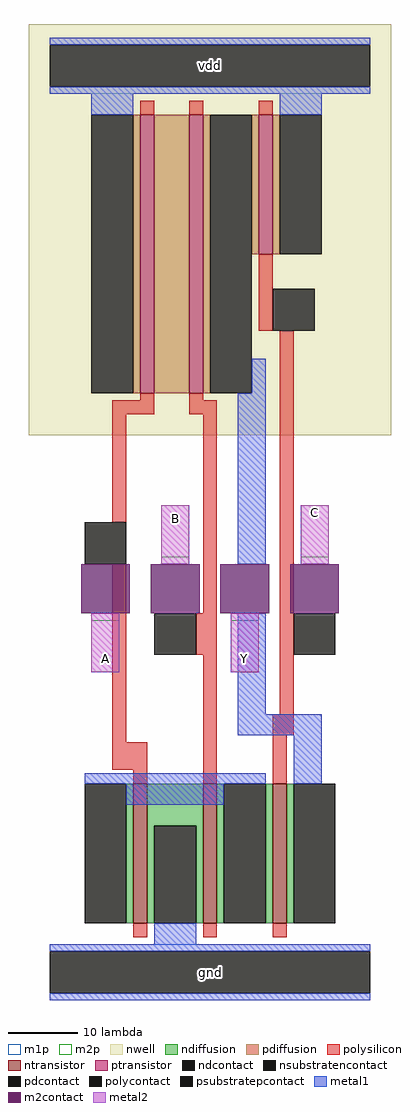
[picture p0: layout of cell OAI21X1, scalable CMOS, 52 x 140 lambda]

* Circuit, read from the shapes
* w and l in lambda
.subckt OAI21X1 A B C Y vdd gnd
M1 gnd A n1 gnd nfet w=20 l=2
M2 n1 B gnd gnd nfet w=20 l=2
M3 Y C n1 gnd nfet w=20 l=2
M4 n2 A vdd vdd pfet w=40 l=2
M5 Y B n2 vdd pfet w=40 l=2
M6 vdd C Y vdd pfet w=20 l=2
.ends

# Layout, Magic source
magic
tech scmos
magscale 1 2
<< nwell >>
rect -12 154 92 272
<< ntransistor >>
rect 18 14 22 54
rect 38 14 42 54
rect 58 14 62 54
<< ptransistor >>
rect 20 166 24 246
rect 34 166 38 246
rect 54 206 58 246
<< ndiffusion >>
rect 16 14 18 54
rect 22 42 38 54
rect 22 14 24 42
rect 36 14 38 42
rect 42 14 44 54
rect 56 14 58 54
rect 62 14 64 54
<< pdiffusion >>
rect 18 166 20 246
rect 24 166 34 246
rect 38 166 40 246
rect 52 206 54 246
rect 58 206 60 246
<< ndcontact >>
rect 4 14 16 54
rect 24 14 36 42
rect 44 14 56 54
rect 64 14 76 54
<< pdcontact >>
rect 6 166 18 246
rect 40 166 52 246
rect 60 206 72 246
<< psubstratepcontact >>
rect -6 -6 86 6
<< nsubstratencontact >>
rect -6 254 86 266
<< polysilicon >>
rect 20 246 24 250
rect 34 246 38 250
rect 54 246 58 250
rect 54 184 58 206
rect 20 164 24 166
rect 12 160 24 164
rect 34 164 38 166
rect 34 160 42 164
rect 12 129 16 160
rect 12 66 16 117
rect 38 103 42 160
rect 36 91 42 103
rect 12 58 22 66
rect 18 54 22 58
rect 38 54 42 91
rect 60 74 64 184
rect 58 68 64 74
rect 58 54 62 68
rect 18 10 22 14
rect 38 10 42 14
rect 58 10 62 14
<< polycontact >>
rect 58 184 70 196
rect 4 117 16 129
rect 24 91 36 103
rect 64 91 76 103
<< metal1 >>
rect -6 266 86 268
rect -6 252 86 254
rect 6 246 18 252
rect 60 246 72 252
rect 52 166 56 176
rect 48 117 56 166
rect 48 74 56 103
rect 48 68 72 74
rect 4 54 56 57
rect 16 48 44 54
rect 64 54 72 68
rect 24 8 36 14
rect -6 6 86 8
rect -6 -8 86 -6
<< m2contact >>
rect 3 103 17 117
rect 23 103 37 117
rect 43 103 57 117
rect 63 103 77 117
<< metal2 >>
rect 26 117 34 134
rect 66 117 74 134
rect 6 86 14 103
rect 46 86 54 103
<< m1p >>
rect -6 252 86 268
rect -6 -8 86 8
<< m2p >>
rect 26 119 34 134
rect 66 119 74 134
rect 6 86 14 101
rect 46 86 54 101
<< labels >>
rlabel metal2 10 90 10 90 5 A
port 1 n signal input
rlabel metal2 30 130 30 130 5 B
port 2 n signal input
rlabel metal2 70 132 70 132 1 C
port 3 n signal input
rlabel metal2 50 90 50 90 1 Y
port 4 n signal output
rlabel metal1 -6 252 86 268 0 vdd
port 5 nsew power bidirectional abutment
rlabel metal1 -6 -8 86 8 0 gnd
port 6 nsew ground bidirectional abutment
<< properties >>
string FIXED_BBOX 0 0 80 260
string LEFclass CORE
string LEFsite core
string LEFsymmetry X Y
<< end >>
